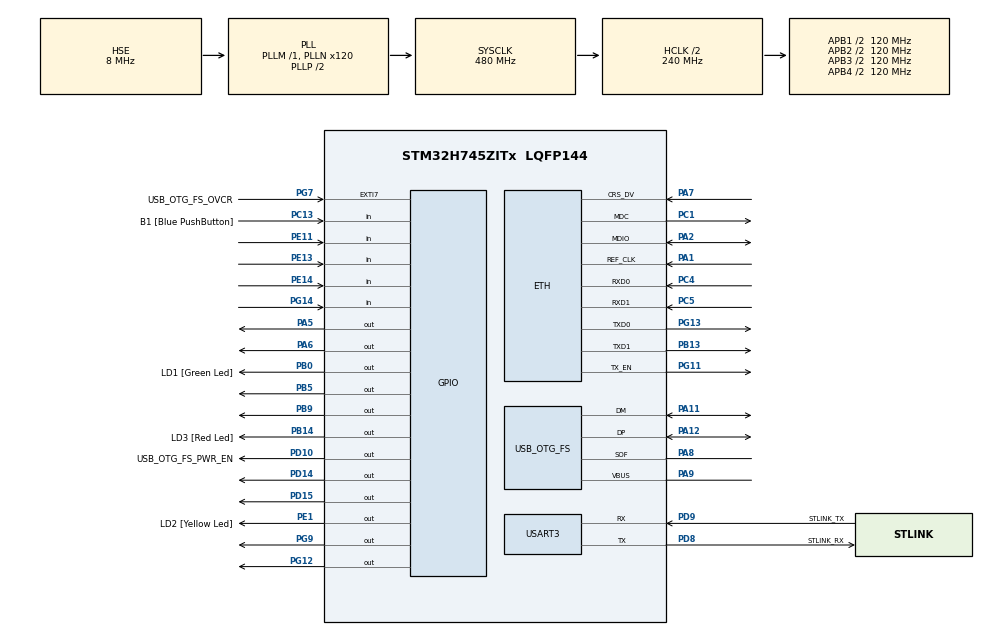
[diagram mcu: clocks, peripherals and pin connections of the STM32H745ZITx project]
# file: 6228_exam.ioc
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PG12.PinState=GPIO_PIN_RESET
PH0-OSC_IN\ (PH0).PinAttribute=CortexM7
PB14.GPIO_Label=LD3 [Red Led]
RCC.PLLFRACN=0
PA6.PinAttribute=CortexM4
PA5.PinAttribute=CortexM4
PC5.Mode=RMII
PB13.Signal=ETH_TXD1
PG13.Signal=ETH_TXD0
RCC.SYSCLKSource=RCC_SYSCLKSOURCE_PLLCLK
USART3.VirtualMode-Asynchronous=VM_ASYNC
PD8.Signal=USART3_TX
PE1.Signal=GPIO_Output
RCC.DIVM3=1
RCC.DIVM1=1
PD8.PinAttribute=CortexM7
VP_SYS_M4_VS_Systick.Mode=SysTick
PA8.Signal=USB_OTG_FS_SOF
CortexM7.Pins=PE11,PE13,PE14,PG14
PA7.PinAttribute=CortexM7
Mcu.Package=LQFP144
PB9.Signal=GPIO_Output
RCC.PLL3FRACN=0
PC14-OSC32_IN\ (OSC32_IN).Mode=LSE-External-Oscillator
RCC.APB4Freq_Value=120000000
PB13.Mode=RMII
PH0-OSC_IN\ (PH0).Mode=HSE-External-Clock-Source
PD15.Signal=GPIO_Output
RCC.SupplySource=PWR_DIRECT_SMPS_SUPPLY
PC4.Mode=RMII
PG12.Signal=GPIO_Output
PG12.PinAttribute=CortexM4
RCC.DIVQ3=4
PD9.GPIO_Label=STLINK_TX
PA1.PinAttribute=CortexM7
PG9.Signal=GPIO_Output
PC13.Signal=GPIO_Input
PA9.PinAttribute=CortexM7
PG13.PinAttribute=CortexM7
PD10.Signal=GPIO_Output
PA12.PinAttribute=CortexM7
PA2.PinAttribute=CortexM7
PA9.Signal=USB_OTG_FS_VBUS
RCC.DIVN3=24
RCC.DIVN1=120
PD8.Mode=Asynchronous
PB14.Signal=GPIO_Output
RCC.USBCLockSelection=RCC_USBCLKSOURCE_PLL3
PA5.Signal=GPIO_Output
PD14.PinState=GPIO_PIN_RESET
PG11.PinAttribute=CortexM7
PE1.GPIO_Label=LD2 [Yellow Led]
PB9.PinAttribute=CortexM4
PG9.PinAttribute=CortexM4
PA1.Mode=RMII
PE14.Signal=GPIO_Input
PA11.PinAttribute=CortexM7
PG7.GPIO_Label=USB_OTG_FS_OVCR
PE1.PinAttribute=Free
ETH.MediaInterface=HAL_ETH_RMII_MODE
PB5.Signal=GPIO_Output
PA8.PinAttribute=CortexM7
PG11.Mode=RMII
PA11.Signal=USB_OTG_FS_DM
ProjectManager.HeapSize=0x200
PD9.PinAttribute=CortexM7
PD15.PinAttribute=CortexM4
PA8.Mode=Activate_SOF_FS
PE14.PinAttribute=CortexM7
PC1.PinAttribute=CortexM7
PB0.Signal=GPIO_Output
PC1.Signal=ETH_MDC
PC1.Mode=RMII
Mcu.Family=STM32H7
RCC.CortexFreq_Value=480000000
PG7.PinAttribute=Free
RCC.HPRE=RCC_HCLK_DIV2
PH0-OSC_IN\ (PH0).Signal=RCC_OSC_IN
PC15-OSC32_OUT\ (OSC32_OUT).Mode=LSE-External-Oscillator
PA11.Mode=Device_Only
PB0.GPIO_Label=LD1 [Green Led]
RCC.PLL2FRACN=0
PC13.GPIO_Label=B1 [Blue PushButton]
PD9.Mode=Asynchronous
PG11.Signal=ETH_TX_EN
ProjectManager.StackSize=0x400
PA12.Signal=USB_OTG_FS_DP
RCC.HCLKFreq_Value=240000000
PE13.PinAttribute=CortexM7
PB0.PinAttribute=Free
RCC.HSE_VALUE=8000000
PG14.PinAttribute=CortexM7
PD15.PinState=GPIO_PIN_RESET
NVIC2.PriorityGroup=NVIC_PRIORITYGROUP_4
PE13.Signal=GPIO_Input
PD14.PinAttribute=CortexM4
PG13.Mode=RMII
CortexM7.IPs=FATFS_M7\:I,FREERTOS_M7\:I,IWDG1\:I,RCC\:I,WWDG1\:I,DMA\:I,BDMA\:I,MDMA\:I,NVIC1\:I,SYS\:I,USART3\:I,USB_OTG_FS\:I,ETH\:I,CORTEX_M7\:I,DEBUG\:I,USB_DEVICE_M7\:I,USB_HOST_M7\:I,PDM2PCM_M7\:I,PWR\:I,RESMGR_UTILITY\:I,OPENAMP_M7\:I,VREFBUF\:I
PD10.PinAttribute=Free
RCC.APB3Freq_Value=120000000
PA6.Signal=GPIO_Output
RCC.D1PPRE=RCC_APB3_DIV2
USB_OTG_FS.VirtualMode=Device_Only
PC5.Signal=ETH_RXD1
PH1-OSC_OUT\ (PH1).PinAttribute=CortexM7
PB14.PinAttribute=Free
PA7.Mode=RMII
PG7.Signal=GPXTI7
CortexM4.Pins=PA5,PA6,PD14,PD15,PG9,PG12,PB5,PB9
PC4.Signal=ETH_RXD0
NVIC1.PriorityGroup=NVIC_PRIORITYGROUP_4
RCC.D2PPRE2=RCC_APB2_DIV2
RCC.D2PPRE1=RCC_APB1_DIV2
PD9.Signal=USART3_RX
PH1-OSC_OUT\ (PH1).Signal=RCC_OSC_OUT
PB13.PinAttribute=CortexM7
PD8.GPIO_Label=STLINK_RX
PA9.Mode=Activate_VBUS
ProjectManager.TargetToolchain=STM32CubeIDE
PC15-OSC32_OUT\ (OSC32_OUT).Signal=RCC_OSC32_OUT
PE11.PinAttribute=CortexM7
PC14-OSC32_IN\ (OSC32_IN).PinAttribute=CortexM7
PC4.PinAttribute=CortexM7
RCC.USBFreq_Value=48000000
PD10.GPIO_Label=USB_OTG_FS_PWR_EN
PE11.Signal=GPIO_Input
PA1.Signal=ETH_REF_CLK
PG14.Signal=GPIO_Input
board=NUCLEO-H745ZI-Q
PB5.PinAttribute=CortexM4
PG9.PinState=GPIO_PIN_RESET
RCC.APB2Freq_Value=120000000
RCC.ADCFreq_Value=16125000
Mcu.Name=STM32H745ZITx
PA2.Signal=ETH_MDIO
PC13.PinAttribute=Free
PD14.Signal=GPIO_Output
RCC.SYSCLKFreq_VALUE=480000000
PA12.Mode=Device_Only
PC14-OSC32_IN\ (OSC32_IN).Signal=RCC_OSC32_IN
PC15-OSC32_OUT\ (OSC32_OUT).PinAttribute=CortexM7
PA2.Mode=RMII
PC5.PinAttribute=CortexM7
RCC.D3PPRE=RCC_APB4_DIV2
RCC.APB1Freq_Value=120000000
PA7.Signal=ETH_CRS_DV
CortexM4.IPs=FATFS_M4\:I,FREERTOS_M4\:I,IWDG2\:I,RCC,WWDG2\:I,DMA,BDMA,MDMA,NVIC2\:I,USART3,ETH,DEBUG,USB_DEVICE_M4\:I,USB_HOST_M4\:I,PDM2PCM_M4\:I,PWR,RESMGR_UTILITY,SYS_M4\:I,CORTEX_M4\:I,OPENAMP_M4\:I,VREFBUF

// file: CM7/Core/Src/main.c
/* USER CODE BEGIN Header */
/**
  ******************************************************************************
  * @file           : main.c
  * @brief          : Main program body
  ******************************************************************************
  * @attention
  *
  * <h2><center>&copy; Copyright (c) 2021 STMicroelectronics.
  * All rights reserved.</center></h2>
  *
  * This software component is licensed by ST under BSD 3-Clause license,
  * the "License"; You may not use this file except in compliance with the
  * License. You may obtain a copy of the License at:
  *                        opensource.org/licenses/BSD-3-Clause
  *
  ******************************************************************************
  */
/* USER CODE END Header */
#include "main.h"
#include "string.h"

/* USER CODE BEGIN PD */

#ifndef HSEM_ID_0
#define HSEM_ID_0 (0U) /* HW semaphore 0*/
#endif
/* USER CODE END PD */

#if defined ( __ICCARM__ ) /*!< IAR Compiler */

#pragma location=0x30040000
ETH_DMADescTypeDef  DMARxDscrTab[ETH_RX_DESC_CNT]; /* Ethernet Rx DMA Descriptors */
#pragma location=0x30040060
ETH_DMADescTypeDef  DMATxDscrTab[ETH_TX_DESC_CNT]; /* Ethernet Tx DMA Descriptors */
#pragma location=0x30040200
uint8_t Rx_Buff[ETH_RX_DESC_CNT][ETH_MAX_PACKET_SIZE]; /* Ethernet Receive Buffers */

#elif defined ( __CC_ARM )  /* MDK ARM Compiler */

__attribute__((at(0x30040000))) ETH_DMADescTypeDef  DMARxDscrTab[ETH_RX_DESC_CNT]; /* Ethernet Rx DMA Descriptors */
__attribute__((at(0x30040060))) ETH_DMADescTypeDef  DMATxDscrTab[ETH_TX_DESC_CNT]; /* Ethernet Tx DMA Descriptors */
__attribute__((at(0x30040200))) uint8_t Rx_Buff[ETH_RX_DESC_CNT][ETH_MAX_PACKET_SIZE]; /* Ethernet Receive Buffer */

#elif defined ( __GNUC__ ) /* GNU Compiler */

ETH_DMADescTypeDef DMARxDscrTab[ETH_RX_DESC_CNT] __attribute__((section(".RxDecripSection"))); /* Ethernet Rx DMA Descriptors */
ETH_DMADescTypeDef DMATxDscrTab[ETH_TX_DESC_CNT] __attribute__((section(".TxDecripSection")));   /* Ethernet Tx DMA Descriptors */
uint8_t Rx_Buff[ETH_RX_DESC_CNT][ETH_MAX_PACKET_SIZE] __attribute__((section(".RxArraySection"))); /* Ethernet Receive Buffers */

#endif

ETH_TxPacketConfig TxConfig;

ETH_HandleTypeDef heth;

UART_HandleTypeDef huart3;

PCD_HandleTypeDef hpcd_USB_OTG_FS;

/* USER CODE BEGIN PV */

// Buttons ----------------------
GPIO_PinState s1[2] = {0};
GPIO_PinState s2[2] = {0};
GPIO_PinState s3[2] = {0};

// Value play  -----------------
uint8_t a_1 = 0;
uint8_t a_2 = 0;
uint8_t b_1 = 0;
uint8_t b_2 = 0;

// Score ------------------------
uint8_t score = 0b00001111;

// Game state -------------------
enum _turn
{
	turn1 = 10,	// first turn
	turn2 = 20	// second turn
};

int turnN = 10;

enum _subturn
{
	turnA = 10,	// A's turn
	turnB = 20	// B's turn
};

int player = 10;

int test_M7 = 1;

// Output ------------------------
typedef struct
{
	uint8_t send_score;	// score
}SharedType;

SharedType *sharedmemory = (SharedType*)(0x38000000);

/* USER CODE END PV */

void SystemClock_Config(void);
static void MX_GPIO_Init(void);
static void MX_ETH_Init(void);
static void MX_USART3_UART_Init(void);
static void MX_USB_OTG_FS_PCD_Init(void);

int main(void)
{
  /* USER CODE BEGIN 1 */
	if (HAL_HSEM_FastTake(1) == HAL_OK)
	{
		sharedmemory->send_score = 0b00001111;
		HAL_HSEM_Release(1, 0);
	}
  /* USER CODE END 1 */
/* USER CODE BEGIN Boot_Mode_Sequence_0 */
  int32_t timeout;
/* USER CODE END Boot_Mode_Sequence_0 */

/* USER CODE BEGIN Boot_Mode_Sequence_1 */
  /* Wait until CPU2 boots and enters in stop mode or timeout*/
  timeout = 0xFFFF;
  while((__HAL_RCC_GET_FLAG(RCC_FLAG_D2CKRDY) != RESET) && (timeout-- > 0));
  if ( timeout < 0 )
  {
  Error_Handler();
  }
/* USER CODE END Boot_Mode_Sequence_1 */
  /* MCU Configuration--------------------------------------------------------*/

  /* Reset of all peripherals, Initializes the Flash interface and the Systick. */
  HAL_Init();

  /* Configure the system clock */
  SystemClock_Config();
/* USER CODE BEGIN Boot_Mode_Sequence_2 */
/* When system initialization is finished, Cortex-M7 will release Cortex-M4 by means of
HSEM notification */
/*HW semaphore Clock enable*/
__HAL_RCC_HSEM_CLK_ENABLE();
/*Take HSEM */
HAL_HSEM_FastTake(HSEM_ID_0);
/*Release HSEM in order to notify the CPU2(CM4)*/
HAL_HSEM_Release(HSEM_ID_0,0);
/* wait until CPU2 wakes up from stop mode */
timeout = 0xFFFF;
while((__HAL_RCC_GET_FLAG(RCC_FLAG_D2CKRDY) == RESET) && (timeout-- > 0));
if ( timeout < 0 )
{
Error_Handler();
}
/* USER CODE END Boot_Mode_Sequence_2 */

  /* Initialize all configured peripherals */
  MX_GPIO_Init();
  MX_ETH_Init();
  MX_USART3_UART_Init();
  MX_USB_OTG_FS_PCD_Init();

  /* Infinite loop */
  /* USER CODE BEGIN WHILE */
  while (1)
  {
	  s1[0] = HAL_GPIO_ReadPin(GPIOG, GPIO_PIN_14);
	  s2[0] = HAL_GPIO_ReadPin(GPIOE, GPIO_PIN_13);
	  s3[0] = HAL_GPIO_ReadPin(GPIOE, GPIO_PIN_14);

	  switch (turnN)
	  {

	  case turn1:
		  switch (player)
		  {
		  case turnA:
			  test_M7 = 2; // test that M7 running ... Why test = 1 !!!
			  if ((s1[1] == GPIO_PIN_SET) && (s1[0] == GPIO_PIN_RESET))
			  {
				  a_1 = 1;
				  player = turnB;
			  }
			  else if ((s2[1] == GPIO_PIN_SET) && (s2[0] == GPIO_PIN_RESET))
			  {
				  a_1 = 2;
				  player = turnB;
			  }
			  else if ((s3[1] == GPIO_PIN_SET) && (s3[0]==GPIO_PIN_RESET))
			  {
				  a_1 = 3;
				  player = turnB;
			  }
			  else
			  {
				  player = turnA;
			  }
			  break;
		  case turnB:
			  if ((s1[1] == GPIO_PIN_SET) && (s1[0]==GPIO_PIN_RESET))
			  {
				  b_1 = 1;
				  rollScore1();
				  player = turnA;
				  turnN = turn2;
			  }
			  else if ((s2[1] == GPIO_PIN_SET) && (s2[0]==GPIO_PIN_RESET))
			  {
				  b_1 = 2;
				  rollScore1();
				  player = turnA;
				  turnN = turn2;
			  }
			  else if ((s3[1] == GPIO_PIN_SET) && (s3[0]==GPIO_PIN_RESET))
			  {
				  b_1 = 3;
				  rollScore1();
				  player = turnA;
				  turnN = turn2;
			  }
			  else
			  {
				  player = turnB;
			  }
			  break;
		  }
		  break;

	  	  break;

	  case turn2:
		  switch (player)
		  {
		  case turnA:
			  if ((s1[1] == GPIO_PIN_SET) && (s1[0]==GPIO_PIN_RESET))
			  {
				  a_2 = 1;
				  if (a_1 == a_2)
				  {
					  a_2 = 0;
					  player = turnA;
				  }
				  else { player = turnB; }

			  }
			  else if ((s2[1] == GPIO_PIN_SET) && (s2[0]==GPIO_PIN_RESET))
			  {
				  a_2 = 2;
				  if (a_1 == a_2)
				  {
					  a_2 = 0;
					  player = turnA;
				  }
				  else { player = turnB; }

			  }
			  else if ((s3[1] == GPIO_PIN_SET) && (s3[0]==GPIO_PIN_RESET))
			  {
				  a_2 = 3;
				  if (a_1 == a_2)
				  {
					  a_2 = 0;
					  player = turnA;
				  }
				  else { player = turnB; }
			  }
			  else
			  {
				  player = turnA;
			  }
			  break;

		  case turnB:
			  if ((s1[1] == GPIO_PIN_SET) && (s1[0]==GPIO_PIN_RESET))
			  {
				  b_2 = 1;
				  if (b_1 == b_2)
				  {
					  b_2 = 0;
					  player = turnB;
				  }
				  else
				  {
					  rollScore2();
					  player = turnA;
					  turnN = turn1;
				  }

			  }
			  else if ((s2[1] == GPIO_PIN_SET) && (s2[0]==GPIO_PIN_RESET))
			  {
				  b_2 = 2;
				  if (b_1 == b_2)
				  {
					  b_2 = 0;
					  player = turnB;
				  }
				  else
				  {
					  rollScore2();
					  player = turnA;
					  turnN = turn1;
				  }

			  }
			  else if ((s3[1] == GPIO_PIN_SET) && (s3[0]==GPIO_PIN_RESET))
			  {
				  b_2 = 3;
				  if (b_1 == b_2)
				  {
					  b_2 = 0;
					  player = turnB;
				  }
				  else
				  {
					  rollScore2();
					  player = turnA;
					  turnN = turn1;
				  				  }
			  }
			  else
			  {
				  player = turnB;
			  }
			  break;
		  }
		  break;

	  	  break;
	  }
	  break;

	  s1[1] = s1[0];
	  s2[1] = s2[0];
	  s3[1] = s3[0];

    /* USER CODE END WHILE */

  }
}

void SystemClock_Config(void)
{
  RCC_OscInitTypeDef RCC_OscInitStruct = {0};
  RCC_ClkInitTypeDef RCC_ClkInitStruct = {0};

  /** Supply configuration update enable
  */
  HAL_PWREx_ConfigSupply(PWR_DIRECT_SMPS_SUPPLY);
  /** Configure the main internal regulator output voltage
  */
  __HAL_PWR_VOLTAGESCALING_CONFIG(PWR_REGULATOR_VOLTAGE_SCALE0);

  while(!__HAL_PWR_GET_FLAG(PWR_FLAG_VOSRDY)) {}
  /** Macro to configure the PLL clock source
  */
  __HAL_RCC_PLL_PLLSOURCE_CONFIG(RCC_PLLSOURCE_HSE);
  /** Initializes the RCC Oscillators according to the specified parameters
  * in the RCC_OscInitTypeDef structure.
  */
  RCC_OscInitStruct.OscillatorType = RCC_OSCILLATORTYPE_HSE;
  RCC_OscInitStruct.HSEState = RCC_HSE_BYPASS;
  RCC_OscInitStruct.PLL.PLLState = RCC_PLL_ON;
  RCC_OscInitStruct.PLL.PLLSource = RCC_PLLSOURCE_HSE;
  RCC_OscInitStruct.PLL.PLLM = 1;
  RCC_OscInitStruct.PLL.PLLN = 120;
  RCC_OscInitStruct.PLL.PLLP = 2;
  RCC_OscInitStruct.PLL.PLLQ = 2;
  RCC_OscInitStruct.PLL.PLLR = 2;
  RCC_OscInitStruct.PLL.PLLRGE = RCC_PLL1VCIRANGE_3;
  RCC_OscInitStruct.PLL.PLLVCOSEL = RCC_PLL1VCOWIDE;
  RCC_OscInitStruct.PLL.PLLFRACN = 0;
  if (HAL_RCC_OscConfig(&RCC_OscInitStruct) != HAL_OK)
  {
    Error_Handler();
  }
  /** Initializes the CPU, AHB and APB buses clocks
  */
  RCC_ClkInitStruct.ClockType = RCC_CLOCKTYPE_HCLK|RCC_CLOCKTYPE_SYSCLK
                              |RCC_CLOCKTYPE_PCLK1|RCC_CLOCKTYPE_PCLK2
                              |RCC_CLOCKTYPE_D3PCLK1|RCC_CLOCKTYPE_D1PCLK1;
  RCC_ClkInitStruct.SYSCLKSource = RCC_SYSCLKSOURCE_PLLCLK;
  RCC_ClkInitStruct.SYSCLKDivider = RCC_SYSCLK_DIV1;
  RCC_ClkInitStruct.AHBCLKDivider = RCC_HCLK_DIV2;
  RCC_ClkInitStruct.APB3CLKDivider = RCC_APB3_DIV2;
  RCC_ClkInitStruct.APB1CLKDivider = RCC_APB1_DIV2;
  RCC_ClkInitStruct.APB2CLKDivider = RCC_APB2_DIV2;
  RCC_ClkInitStruct.APB4CLKDivider = RCC_APB4_DIV2;

  if (HAL_RCC_ClockConfig(&RCC_ClkInitStruct, FLASH_LATENCY_4) != HAL_OK)
  {
    Error_Handler();
  }
}

static void MX_ETH_Init(void)
{

  heth.Instance = ETH;
  heth.Init.MACAddr[0] =   0x00;
  heth.Init.MACAddr[1] =   0x80;
  heth.Init.MACAddr[2] =   0xE1;
  heth.Init.MACAddr[3] =   0x00;
  heth.Init.MACAddr[4] =   0x00;
  heth.Init.MACAddr[5] =   0x00;
  heth.Init.MediaInterface = HAL_ETH_RMII_MODE;
  heth.Init.TxDesc = DMATxDscrTab;
  heth.Init.RxDesc = DMARxDscrTab;
  heth.Init.RxBuffLen = 1524;

  if (HAL_ETH_Init(&heth) != HAL_OK)
  {
    Error_Handler();
  }

  memset(&TxConfig, 0 , sizeof(ETH_TxPacketConfig));
  TxConfig.Attributes = ETH_TX_PACKETS_FEATURES_CSUM | ETH_TX_PACKETS_FEATURES_CRCPAD;
  TxConfig.ChecksumCtrl = ETH_CHECKSUM_IPHDR_PAYLOAD_INSERT_PHDR_CALC;
  TxConfig.CRCPadCtrl = ETH_CRC_PAD_INSERT;

}

static void MX_USART3_UART_Init(void)
{

  huart3.Instance = USART3;
  huart3.Init.BaudRate = 115200;
  huart3.Init.WordLength = UART_WORDLENGTH_8B;
  huart3.Init.StopBits = UART_STOPBITS_1;
  huart3.Init.Parity = UART_PARITY_NONE;
  huart3.Init.Mode = UART_MODE_TX_RX;
  huart3.Init.HwFlowCtl = UART_HWCONTROL_NONE;
  huart3.Init.OverSampling = UART_OVERSAMPLING_16;
  huart3.Init.OneBitSampling = UART_ONE_BIT_SAMPLE_DISABLE;
  huart3.Init.ClockPrescaler = UART_PRESCALER_DIV1;
  huart3.AdvancedInit.AdvFeatureInit = UART_ADVFEATURE_NO_INIT;
  if (HAL_UART_Init(&huart3) != HAL_OK)
  {
    Error_Handler();
  }
  if (HAL_UARTEx_SetTxFifoThreshold(&huart3, UART_TXFIFO_THRESHOLD_1_8) != HAL_OK)
  {
    Error_Handler();
  }
  if (HAL_UARTEx_SetRxFifoThreshold(&huart3, UART_RXFIFO_THRESHOLD_1_8) != HAL_OK)
  {
    Error_Handler();
  }
  if (HAL_UARTEx_DisableFifoMode(&huart3) != HAL_OK)
  {
    Error_Handler();
  }

}

static void MX_USB_OTG_FS_PCD_Init(void)
{

  hpcd_USB_OTG_FS.Instance = USB_OTG_FS;
  hpcd_USB_OTG_FS.Init.dev_endpoints = 9;
  hpcd_USB_OTG_FS.Init.speed = PCD_SPEED_FULL;
  hpcd_USB_OTG_FS.Init.dma_enable = DISABLE;
  hpcd_USB_OTG_FS.Init.phy_itface = PCD_PHY_EMBEDDED;
  hpcd_USB_OTG_FS.Init.Sof_enable = DISABLE;
  hpcd_USB_OTG_FS.Init.low_power_enable = DISABLE;
  hpcd_USB_OTG_FS.Init.lpm_enable = DISABLE;
  hpcd_USB_OTG_FS.Init.battery_charging_enable = ENABLE;
  hpcd_USB_OTG_FS.Init.vbus_sensing_enable = ENABLE;
  hpcd_USB_OTG_FS.Init.use_dedicated_ep1 = DISABLE;
  if (HAL_PCD_Init(&hpcd_USB_OTG_FS) != HAL_OK)
  {
    Error_Handler();
  }

}

static void MX_GPIO_Init(void)
{
  GPIO_InitTypeDef GPIO_InitStruct = {0};

  /* GPIO Ports Clock Enable */
  __HAL_RCC_GPIOC_CLK_ENABLE();
  __HAL_RCC_GPIOH_CLK_ENABLE();
  __HAL_RCC_GPIOA_CLK_ENABLE();
  __HAL_RCC_GPIOE_CLK_ENABLE();
  __HAL_RCC_GPIOB_CLK_ENABLE();
  __HAL_RCC_GPIOD_CLK_ENABLE();
  __HAL_RCC_GPIOG_CLK_ENABLE();

  /*Configure GPIO pins : PE11 PE13 PE14 */
  GPIO_InitStruct.Pin = GPIO_PIN_11|GPIO_PIN_13|GPIO_PIN_14;
  GPIO_InitStruct.Mode = GPIO_MODE_INPUT;
  GPIO_InitStruct.Pull = GPIO_NOPULL;
  HAL_GPIO_Init(GPIOE, &GPIO_InitStruct);

  /*Configure GPIO pin : PG14 */
  GPIO_InitStruct.Pin = GPIO_PIN_14;
  GPIO_InitStruct.Mode = GPIO_MODE_INPUT;
  GPIO_InitStruct.Pull = GPIO_NOPULL;
  HAL_GPIO_Init(GPIOG, &GPIO_InitStruct);

}

/* USER CODE BEGIN 4 */

void Awin(){
	score = score>>1 ; // shift left 1 time for add more zero.
}

void Bwin(){
	score = (score<<1)||0b00000001;  // shift right 1 time, or 1, for add more one.
}

void updateOutput(){
	while (1)
	{
		if (HAL_HSEM_FastTake(1) == HAL_OK)
		{
			sharedmemory->send_score = score;
			HAL_HSEM_Release(1, 0);
			break;
		}
	}
}

void rollScore1(){
	if (a_1 > b_1)
	{
		Awin();
	}
	else if (b_1 == a_1)
	{
		Bwin();
	}
	updateOutput();
}

void rollScore2(){
	if (a_2 > b_2)
	{
		Awin();
	}
	else if (b_2 == a_2)
	{
		Bwin();
	}
	updateOutput();
	a_1 = 0;
	a_2 = 0;
	b_1 = 0;
	b_2 = 0;
}

/* USER CODE END 4 */

void Error_Handler(void)
{
  __disable_irq();
  while (1)
  {
  }
}

/************************ (C) COPYRIGHT STMicroelectronics *****END OF FILE****/
